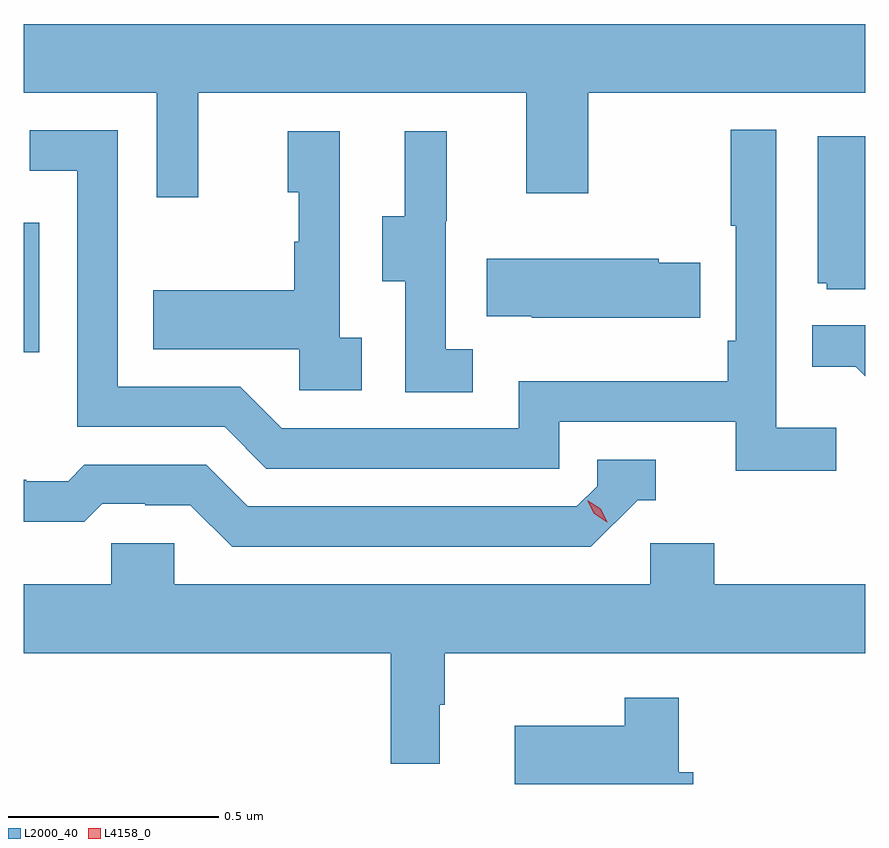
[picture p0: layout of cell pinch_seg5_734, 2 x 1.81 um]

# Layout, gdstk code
import gdstk
lib = gdstk.Library(unit=1e-6, precision=1e-09)
def R(c, l, rs):  # rectangles x0, y0, x1, y1
    for r in rs: c.add(gdstk.rectangle(r[:2], r[2:], *l))
def P(c, l, *ps):  # polygons
    for p in ps: c.add(gdstk.Polygon(p, *l))
L2000_40 = (2000, 40)
L4158_0 = (4158, 0)

pinch_seg5_734 = lib.new_cell('pinch_seg5_734')
R(pinch_seg5_734, L2000_40, [(1112.507,837.495,1112.544,837.804)])
P(pinch_seg5_734, L2000_40, [(1112.921,838.112),(1113.701,838.112),(1113.701,837.873),(1113.849,837.873),(1113.849,838.112),(1114.507,838.112),(1114.507,838.276),(1112.507,838.276),(1112.507,838.112),(1112.823,838.112),(1112.823,837.864),(1112.921,837.864)],
  [(1114.438,837.316),(1114.296,837.316),(1114.296,838.024),(1114.188,838.024),(1114.188,837.796),(1114.2,837.796),(1114.2,837.523),(1114.18,837.523),(1114.18,837.427),(1113.684,837.427),(1113.684,837.315),(1113.12,837.315),(1113.021,837.414),(1112.73,837.414),(1112.73,838.023),(1112.521,838.023),(1112.521,837.927),(1112.634,837.927),(1112.634,837.318),(1112.984,837.318),(1113.083,837.219),(1113.78,837.219),(1113.78,837.33),(1114.199,837.33),(1114.199,837.214),(1114.438,837.214)],
  [(1113.31,837.53),(1113.258,837.53),(1113.258,838.021),(1113.134,838.021),(1113.134,837.876),(1113.16,837.876),(1113.16,837.758),(1113.15,837.758),(1113.15,837.643),(1112.815,837.643),(1112.815,837.503),(1113.162,837.503),(1113.162,837.405),(1113.31,837.405)],
  [(1113.574,837.503),(1113.51,837.503),(1113.51,837.807),(1113.512,837.807),(1113.512,838.021),(1113.413,838.021),(1113.413,837.819),(1113.359,837.819),(1113.359,837.664),(1113.414,837.664),(1113.414,837.4),(1113.574,837.4)],
  [(1114.507,838.009),(1114.394,838.009),(1114.394,837.66),(1114.416,837.66),(1114.416,837.645),(1114.507,837.645)],
  [(1114.115,837.708),(1114.017,837.708),(1114.017,837.718),(1113.607,837.718),(1113.607,837.581),(1113.715,837.581),(1113.715,837.578),(1114.115,837.578)],
  [(1114.507,837.56),(1114.381,837.56),(1114.381,837.461),(1114.485,837.461),(1114.507,837.439)],
  [(1113.966,837.144),(1114.009,837.144),(1114.009,837.24),(1113.87,837.24),(1113.87,837.177),(1113.822,837.129),(1113.039,837.129),(1112.94,837.228),(1112.651,837.228),(1112.612,837.189),(1112.513,837.189),(1112.513,837.192),(1112.507,837.192),(1112.507,837.093),(1112.651,837.093),(1112.693,837.135),(1112.796,837.135),(1112.796,837.132),(1112.903,837.132),(1113.002,837.033),(1113.855,837.033)],
  [(1113.496,836.657),(1113.508,836.657),(1113.508,836.78),(1114.507,836.78),(1114.507,836.944),(1114.148,836.944),(1114.148,837.042),(1113.996,837.042),(1113.996,836.944),(1112.865,836.944),(1112.865,837.042),(1112.715,837.042),(1112.715,836.944),(1112.507,836.944),(1112.507,836.78),(1113.379,836.78),(1113.379,836.517),(1113.496,836.517)],
  [(1114.099,836.497),(1114.064,836.497),(1114.064,836.674),(1113.936,836.674),(1113.936,836.608),(1113.674,836.608),(1113.674,836.469),(1114.099,836.469)])
P(pinch_seg5_734, L4158_0, [(1113.894,837.091),(1113.863,837.111),(1113.846,837.144),(1113.846,837.144),(1113.847,837.144),(1113.878,837.124),(1113.894,837.092),(1113.894,837.091)])

lib.write_gds('pinch_seg5_734.gds')
